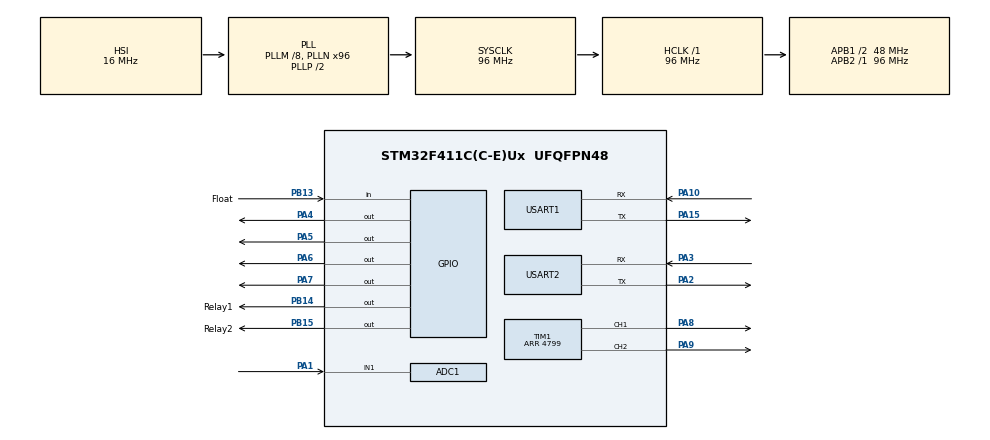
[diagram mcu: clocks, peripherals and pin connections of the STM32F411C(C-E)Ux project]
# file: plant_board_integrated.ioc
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ADC1.Channel-0\#ChannelRegularConversion=ADC_CHANNEL_1
ADC1.NbrOfConversionFlag=1
ADC1.Rank-0\#ChannelRegularConversion=1
ADC1.SamplingTime-0\#ChannelRegularConversion=ADC_SAMPLETIME_3CYCLES
ADC1.master=1
Mcu.Family=STM32F4
Mcu.Name=STM32F411C(C-E)Ux
Mcu.Package=UFQFPN48
NVIC.PriorityGroup=NVIC_PRIORITYGROUP_4
PA1.Signal=ADCx_IN1
PA10.Mode=Asynchronous
PA10.Signal=USART1_RX
PA13.Mode=Trace_Asynchronous_SW
PA13.Signal=SYS_JTMS-SWDIO
PA14.Mode=Trace_Asynchronous_SW
PA14.Signal=SYS_JTCK-SWCLK
PA15.Mode=Asynchronous
PA15.Signal=USART1_TX
PA2.Mode=Asynchronous
PA2.Signal=USART2_TX
PA3.Mode=Asynchronous
PA3.Signal=USART2_RX
PA4.Signal=GPIO_Output
PA5.Signal=GPIO_Output
PA6.Signal=GPIO_Output
PA7.Signal=GPIO_Output
PA8.Signal=S_TIM1_CH1
PA9.Signal=S_TIM1_CH2
PB13.GPIO_Label=Float
PB13.Signal=GPIO_Input
PB14.GPIO_Label=Relay1
PB14.Signal=GPIO_Output
PB15.GPIO_Label=Relay2
PB15.Signal=GPIO_Output
PB3.Mode=Trace_Asynchronous_SW
PB3.Signal=SYS_JTDO-SWO
ProjectManager.HeapSize=0x200
ProjectManager.StackSize=0x400
ProjectManager.TargetToolchain=STM32CubeIDE
RCC.48MHZClocksFreq_Value=48000000
RCC.AHBFreq_Value=96000000
RCC.APB1CLKDivider=RCC_HCLK_DIV2
RCC.APB1Freq_Value=48000000
RCC.APB1TimFreq_Value=96000000
RCC.APB2Freq_Value=96000000
RCC.APB2TimFreq_Value=96000000
RCC.CortexFreq_Value=96000000
RCC.HCLKFreq_Value=96000000
RCC.HSE_VALUE=25000000
RCC.HSI_VALUE=16000000
RCC.LSE_VALUE=32768
RCC.PLLM=8
RCC.PLLN=96
RCC.SYSCLKFreq_VALUE=96000000
RCC.SYSCLKSource=RCC_SYSCLKSOURCE_PLLCLK
RCC.VCOOutputFreq_Value=192000000
SH.ADCx_IN1.0=ADC1_IN1,IN1
SH.S_TIM1_CH1.0=TIM1_CH1,PWM Generation1 CH1
SH.S_TIM1_CH2.0=TIM1_CH2,PWM Generation2 CH2
TIM1.Channel-PWM\ Generation1\ CH1=TIM_CHANNEL_1
TIM1.Channel-PWM\ Generation2\ CH2=TIM_CHANNEL_2
TIM1.Period=4799
USART1.VirtualMode=VM_ASYNC
USART2.VirtualMode=VM_ASYNC
board=custom

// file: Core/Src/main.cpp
/* USER CODE BEGIN Header */
/**
  ******************************************************************************
  * @file           : main.cpp
  * @brief          : Main program body for the STM32 nutrient/water controller
  ******************************************************************************
  * @attention
  *
  * Copyright (c) 2026 STMicroelectronics.
  * All rights reserved.
  *
  * This software is licensed under terms that can be found in the LICENSE file
  * in the root directory of this software component.
  * If no LICENSE file comes with this software, it is provided AS-IS.
  *
  ******************************************************************************
  */
/* USER CODE END Header */
#include "main.h"

/* USER CODE BEGIN Includes */
extern "C" {
#include "motor_driver.h"
#include "valve.h"
#include "float.h"
#include "probe.h"
}

#include <cctype>
#include <cstdio>
#include <cstdlib>
#include <cstring>
#include <string>

using std::string;
/* USER CODE END Includes */

/* USER CODE BEGIN PTD */
/**
 * @brief High-level actions that can be requested by the TCP controller.
 */
enum class Actions{
	/** @brief Add water until the float switch indicates the target level. */
	Add_Water,

	/** @brief Add nutrient solution/slop and report the current TDS value. */
	Add_Slop,

	/** @brief Return control to manual/controller-command mode. */
	Controller_Mode,

	/** @brief Automatically manage water level and TDS concentration. */
	Automatic_Mode,

	/** @brief Idle state while waiting for the next TCP command. */
	Waiting_For_Command
};
/* USER CODE END PTD */

/* USER CODE BEGIN PD */
/** @brief TDS threshold, in ppm, below which nutrient solution is added. */
#define ppm_threshold 100.0f
/* USER CODE END PD */

ADC_HandleTypeDef hadc1;

TIM_HandleTypeDef htim1;

UART_HandleTypeDef huart1;
UART_HandleTypeDef huart2;

/* USER CODE BEGIN PV */
/** @brief PWM motor object used for periodic aeration. */
motor_t motor;

/** @brief Relay valve used to add water. */
valve_t valve1;

/** @brief Relay valve used to add nutrient solution/slop. */
valve_t valve2;

/** @brief Float switch used to detect the tank water level. */
float_t float1;

/** @brief TDS probe state used for ADC sampling and UART reporting. */
tds_t tds1;

/** @brief Nonzero when the aeration motor should be running. */
uint8_t motor_enable = 0;

/** @brief HAL tick count for the end of the previous aeration cycle. */
uint32_t last_motor_cycle_tick = 0;

/** @brief HAL tick count when the current aeration run started. */
uint32_t  motor_start_tick = 0;

/** @brief Latest TDS measurement in parts per million. */
float ppm;

/** @brief True after the remote controller sends the pairing message. */
bool controller_paired = false;

/** @brief True when automatic tank-control behavior is enabled. */
bool automatic_mode = false;

/** @brief Current state-machine action being processed by the main loop. */
Actions current_action = Actions::Waiting_For_Command;

/* WiFi credentials ----------------------------------------------------------*/
//static const char WIFI_SSID[] = "JiyenPhone";
//static const char WIFI_PASS[] = "loquat1515";
static const char WIFI_SSID[] = "LucasPhone";
static const char WIFI_PASS[] = "w033qbwyu552";

/* TCP server/listener port --------------------------------------------------*/
/* Change this to the port you want the ESP-01 to listen on. */
/** @brief TCP port opened by the ESP-01 server for controller commands. */
static const int LISTEN_PORT = 5000;

/* RX buffer for ESP UART ----------------------------------------------------*/
/** @brief Size of the circular receive buffer used for ESP UART data. */
#define ESP_RX_BUF_SIZE 1024

/** @brief Circular buffer that stores bytes received from the ESP-01 UART. */
static uint8_t esp_rx_buf[ESP_RX_BUF_SIZE];

/** @brief Write index for the ESP UART circular receive buffer. */
static uint16_t esp_rx_head = 0;

/** @brief Read index for the ESP UART circular receive buffer. */
static uint16_t esp_rx_tail = 0;
/* USER CODE END PV */

void SystemClock_Config(void);
static void MX_GPIO_Init(void);
static void MX_ADC1_Init(void);
static void MX_TIM1_Init(void);
static void MX_USART1_UART_Init(void);
static void MX_USART2_UART_Init(void);
/* USER CODE BEGIN PFP */
/**
 * @brief Push one byte into the ESP UART circular receive buffer.
 *
 * If the buffer is full, the oldest byte is overwritten.
 *
 * @param b Byte to store in the receive buffer.
 */
static void rx_push(uint8_t b)
{
  esp_rx_buf[esp_rx_head] = b;
  esp_rx_head = (esp_rx_head + 1) % ESP_RX_BUF_SIZE;

  if (esp_rx_head == esp_rx_tail)
  {
    esp_rx_tail = (esp_rx_tail + 1) % ESP_RX_BUF_SIZE;
  }
}

/**
 * @brief Pop one byte from the ESP UART circular receive buffer.
 *
 * @return Next byte as a non-negative int, or -1 when the buffer is empty.
 */
static int rx_pop(void)
{
  if (esp_rx_head == esp_rx_tail)
  {
    return -1;
  }

  uint8_t b = esp_rx_buf[esp_rx_tail];
  esp_rx_tail = (esp_rx_tail + 1) % ESP_RX_BUF_SIZE;
  return b;
}

/**
 * @brief Read all currently available bytes from the ESP UART.
 *
 * Bytes are pushed into the local circular receive buffer until no more data is
 * available or a HAL receive error occurs.
 */
static void esp_fill_rx(void)
{
  uint8_t b;
  HAL_StatusTypeDef status;

  do
  {
    status = HAL_UART_Receive(&huart2, &b, 1, 1);

    if (status == HAL_OK)
    {
      rx_push(b);
    }
  } while (status == HAL_OK);
}

/**
 * @brief Clear buffered ESP UART data.
 *
 * The circular buffer indexes are reset and any pending UART bytes are drained
 * so old responses are not confused with new AT command responses.
 */
static void esp_clear_rx(void)
{
  esp_rx_head = 0;
  esp_rx_tail = 0;

  uint8_t b;

  while (HAL_UART_Receive(&huart2, &b, 1, 1) == HAL_OK)
  {
  }
}

/* UART1 debug helpers -------------------------------------------------------*/
/**
 * @brief Send a null-terminated debug string over UART1.
 *
 * @param msg Null-terminated string to transmit.
 */
static void uart1_send(const char *msg)
{
  HAL_UART_Transmit(&huart1,
                    (uint8_t *)msg,
                    (uint16_t)std::strlen(msg),
                    HAL_MAX_DELAY);
}

/**
 * @brief Send a null-terminated debug string over UART1 with CRLF appended.
 *
 * @param msg Null-terminated string to transmit.
 */
static void uart1_send_ln(const char *msg)
{
  uart1_send(msg);
  uart1_send("\r\n");
}

/**
 * @brief Send a C++ string over UART1.
 *
 * @param msg String to transmit.
 */
static void uart1_send_string(const string &msg)
{
  HAL_UART_Transmit(&huart1,
                    (uint8_t *)msg.c_str(),
                    (uint16_t)msg.length(),
                    HAL_MAX_DELAY);
}

/**
 * @brief Send a C++ string over UART1 with CRLF appended.
 *
 * @param msg String to transmit.
 */
static void uart1_send_string_ln(const string &msg)
{
  uart1_send_string(msg);
  uart1_send("\r\n");
}

/* UART2 ESP send helper -----------------------------------------------------*/
/**
 * @brief Send a C++ string over UART2 with CRLF appended.
 *
 * This helper is used to send ESP-01 AT commands.
 *
 * @param msg AT command or string to transmit.
 */
static void uart2_send_string_ln(const string &msg)
{
  HAL_UART_Transmit(&huart2,
                    (uint8_t *)msg.c_str(),
                    (uint16_t)msg.length(),
                    HAL_MAX_DELAY);

  HAL_UART_Transmit(&huart2,
                    (uint8_t *)"\r\n",
                    2,
                    HAL_MAX_DELAY);
}

/**
 * @brief Send an AT command to the ESP-01 and collect its response.
 *
 * The function clears pending input, sends the command, then reads bytes until
 * an expected response terminator appears or the timeout expires. The response
 * is also printed over UART1 for debugging.
 *
 * @param cmd AT command to send without the trailing CRLF.
 * @param timeout_ms Maximum time to wait for the ESP response, in milliseconds.
 * @return Complete response collected from the ESP-01.
 */
static string esp_command(const string &cmd, uint32_t timeout_ms)
{
  esp_clear_rx();

  uart1_send(">> ");
  uart1_send_string_ln(cmd);

  uart2_send_string_ln(cmd);

  string response;
  response.reserve(ESP_RX_BUF_SIZE);

  uint32_t start = HAL_GetTick();

  while (HAL_GetTick() - start < timeout_ms)
  {
    esp_fill_rx();

    int r = rx_pop();

    if (r >= 0)
    {
      char c = (char)r;
      response += c;

      if (response.find("\r\nOK\r\n") != string::npos ||
          response.find("\r\nERROR\r\n") != string::npos ||
          response.find("FAIL") != string::npos ||
          response.find("ALREADY CONNECTED") != string::npos)
      {
        break;
      }
    }
    else
    {
      HAL_Delay(1);
    }
  }

  uart1_send_ln("<< ESP response:");
  uart1_send_string_ln(response);
  uart1_send_ln("--------------------");

  return response;
}

/**
 * @brief Parse the station IP address from an AT+CIPSTA? response.
 *
 * @param response Raw ESP-01 response string.
 * @return Parsed IP address string, or an empty string if not found.
 */
static string parse_cipsta_ip(const string &response)
{
  size_t pos = response.find("+CIPSTA:ip:\"");

  if (pos == string::npos)
  {
    return "";
  }

  size_t q1 = response.find('"', pos);
  if (q1 == string::npos)
  {
    return "";
  }

  size_t q2 = response.find('"', q1 + 1);
  if (q2 == string::npos)
  {
    return "";
  }

  return response.substr(q1 + 1, q2 - q1 - 1);
}

/**
 * @brief Parse the station IP address from an AT+CIFSR response.
 *
 * @param response Raw ESP-01 response string.
 * @return Parsed IP address string, or an empty string if not found.
 */
static string parse_cifsr_sta_ip(const string &response)
{
  size_t pos = response.find("STAIP,\"");

  if (pos == string::npos)
  {
    return "";
  }

  size_t q1 = response.find('"', pos);
  if (q1 == string::npos)
  {
    return "";
  }

  size_t q2 = response.find('"', q1 + 1);
  if (q2 == string::npos)
  {
    return "";
  }

  return response.substr(q1 + 1, q2 - q1 - 1);
}

/**
 * @brief Try to read the ESP-01 station IP address once.
 *
 * The function first attempts AT+CIPSTA?, then falls back to AT+CIFSR.
 *
 * @return Parsed IP address string, or an empty string if no IP was found.
 */
static string get_ip_address_once(void)
{
  string response;
  string ip;

  response = esp_command("AT+CIPSTA?", 5000);
  ip = parse_cipsta_ip(response);

  if (ip.empty())
  {
    response = esp_command("AT+CIFSR", 5000);
    ip = parse_cifsr_sta_ip(response);
  }

  return ip;
}

/**
 * @brief Wait until the ESP-01 has an IP address and print it over UART1.
 */
static void wait_for_ip_and_print_once(void)
{
  string ip = "";

  uart1_send_ln("");
  uart1_send_ln("Waiting for ESP IP address...");

  while (ip.empty())
  {
    ip = get_ip_address_once();

    if (ip.empty())
    {
      uart1_send_ln("IP not found yet. Retrying...");
      HAL_Delay(2000);
    }
  }

  uart1_send("ESP IP Address: ");
  uart1_send_string_ln(ip);
  uart1_send_ln("Use this IP address from your computer TCP client.");
}

/**
 * @brief Configure the ESP-01 and connect it to the configured WiFi network.
 *
 * @return true if the ESP-01 connects and reports success; false otherwise.
 */
static bool wifi_connect(void)
{
  uart1_send_ln("");
  uart1_send_ln("Starting ESP-01 WiFi setup...");
  HAL_Delay(2000);

  string response;

  response = esp_command("AT", 3000);

  if (response.find("OK") == string::npos)
  {
    uart1_send_ln("ERROR: ESP-01 did not respond to AT.");
    uart1_send_ln("Check wiring, power, EN/CH_PD, GPIO0, GPIO2, baud rate, and TX/RX crossover.");
    return false;
  }

  esp_command("ATE0", 2000);

  esp_command("AT+RST", 6000);
  HAL_Delay(4000);

  response = esp_command("AT+CWMODE=1", 5000);

  if (response.find("OK") == string::npos)
  {
    uart1_send_ln("ERROR: Failed to set station mode.");
    return false;
  }

  esp_command("AT+CWDHCP=1,1", 5000);
  esp_command("AT+CIPMODE=0", 3000);

  esp_command("AT+CWQAP", 5000);
  HAL_Delay(1000);

  uart1_send_ln("");
  uart1_send_ln("Connecting to WiFi...");

  string join_cmd = "AT+CWJAP=\"";
  join_cmd += WIFI_SSID;
  join_cmd += "\",\"";
  join_cmd += WIFI_PASS;
  join_cmd += "\"";

  response = esp_command(join_cmd, 30000);

  if (response.find("OK") != string::npos ||
      response.find("WIFI GOT IP") != string::npos)
  {
    uart1_send_ln("WiFi connected.");
    return true;
  }

  uart1_send_ln("WiFi connection failed.");

  if (response.find("+CWJAP:1") != string::npos)
  {
    uart1_send_ln("CWJAP error 1: connection timeout.");
  }
  else if (response.find("+CWJAP:2") != string::npos)
  {
    uart1_send_ln("CWJAP error 2: wrong password.");
  }
  else if (response.find("+CWJAP:3") != string::npos)
  {
    uart1_send_ln("CWJAP error 3: access point not found.");
  }
  else if (response.find("+CWJAP:4") != string::npos)
  {
    uart1_send_ln("CWJAP error 4: connection failed.");
  }

  return false;
}

/**
 * @brief Start the ESP-01 TCP server/listener.
 *
 * @param listen_port TCP port number for incoming controller connections.
 * @return true if the server starts successfully; false otherwise.
 */
static bool start_tcp_server(int listen_port)
{
  string response;

  uart1_send_ln("");
  uart1_send_ln("Starting ESP TCP server/listener...");

  /*
    Server mode requires multiple connections enabled.
  */
  response = esp_command("AT+CIPMUX=1", 5000);

  if (response.find("OK") == string::npos)
  {
    uart1_send_ln("ERROR: Failed to set CIPMUX=1.");
    return false;
  }

  /*
    Stop any old server. Ignore ERROR if no server exists.
  */
  esp_command("AT+CIPSERVER=0", 3000);

  char server_cmd[48];
  std::snprintf(server_cmd,
           sizeof(server_cmd),
           "AT+CIPSERVER=1,%d",
           listen_port);

  response = esp_command(server_cmd, 5000);

  if (response.find("OK") == string::npos)
  {
    uart1_send_ln("ERROR: Failed to start TCP server.");
    return false;
  }

  /*
    Optional connection timeout in seconds.
    7200 seconds = 2 hours.
  */
  esp_command("AT+CIPSTO=7200", 3000);

  uart1_send("TCP server listening on port ");

  char port_buf[16];
  std::snprintf(port_buf, sizeof(port_buf), "%d", listen_port);
  uart1_send_ln(port_buf);

  return true;
}

/**
 * @brief Test whether a character is an ASCII decimal digit.
 *
 * @param c Character to test.
 * @return true when c is between '0' and '9'; false otherwise.
 */
static bool is_digit_char(char c)
{
  return c >= '0' && c <= '9';
}

/**
 * @brief Parse an unsigned integer from a string at the current position.
 *
 * @param s Input string containing the number.
 * @param pos Current parse position; updated to the first non-digit on success.
 * @param value Parsed unsigned value.
 * @return true if at least one digit was parsed; false otherwise.
 */
static bool parse_unsigned_from_stream(const string &s,
                                       size_t &pos,
                                       unsigned int &value)
{
  if (pos >= s.length() || !is_digit_char(s[pos]))
  {
    return false;
  }

  value = 0;

  while (pos < s.length() && is_digit_char(s[pos]))
  {
    value = value * 10U + (unsigned int)(s[pos] - '0');
    pos++;
  }

  return true;
}

/**
 * @brief Extract one complete TCP payload from an ESP +IPD stream.
 *
 * Expected ESP server/mux format:
 * @code
 * +IPD,<link_id>,<length>:<payload>
 * @endcode
 *
 * The non-mux format is also supported:
 * @code
 * +IPD,<length>:<payload>
 * @endcode
 *
 * @param stream Buffered ESP receive stream. Consumed bytes are erased.
 * @return Received TCP payload, or "None" if no complete payload is available.
 */
static string process_ipd_stream(string &stream)
{
  while (1)
  {
    size_t ipd_pos = stream.find("+IPD,");

    if (ipd_pos == string::npos)
    {
      /*
        Keep a small tail in case '+IPD,' arrives split across reads.
      */
      if (stream.length() > 8)
      {
        stream.erase(0, stream.length() - 8);
      }

      return "None";
    }

    if (ipd_pos > 0)
    {
      stream.erase(0, ipd_pos);
    }

    size_t pos = 5;
    unsigned int first_number = 0;
    unsigned int payload_len = 0;

    if (!parse_unsigned_from_stream(stream, pos, first_number))
    {
      return "None";
    }

    if (pos >= stream.length())
    {
      return "None";
    }

    if (stream[pos] == ',')
    {
      /*
        Mux/server format:
          +IPD,<link_id>,<length>:<payload>
      */
      pos++;

      if (!parse_unsigned_from_stream(stream, pos, payload_len))
      {
        return "None";
      }

      if (pos >= stream.length())
      {
        return "None";
      }

      if (stream[pos] != ':')
      {
        /*
          Unexpected format. Drop '+IPD,' and keep searching.
        */
        stream.erase(0, 5);
        continue;
      }

      pos++;
    }
    else if (stream[pos] == ':')
    {
      /*
        Non-mux/client format:
          +IPD,<length>:<payload>
      */
      payload_len = first_number;
      pos++;
    }
    else
    {
      /*
        Unexpected format. Drop '+IPD,' and keep searching.
      */
      stream.erase(0, 5);
      continue;
    }

    if (stream.length() < pos + payload_len)
    {
      /*
        Full payload has not arrived yet.
      */
      return "None";
    }

    string payload = stream.substr(pos, payload_len);

    /*
      Remove this packet from the stream.
      If another +IPD packet is already buffered, the next call will return it.
    */
    stream.erase(0, pos + payload_len);

    return payload;
  }
}

/**
 * @brief Check whether a complete TCP command has been received.
 *
 * This function should be called from the main loop. It reads available UART2
 * bytes, stores them in a persistent stream buffer, and extracts one complete
 * ESP +IPD payload when available.
 *
 * @return Received TCP message payload, or "None" if no complete message exists.
 */
static string check_for_received_tcp_messages(void)
{
  static string stream;

  esp_fill_rx();

  while (1)
  {
    int r = rx_pop();

    if (r < 0)
    {
      break;
    }

    stream += (char)r;

    if (stream.length() > 2048)
    {
      stream.erase(0, stream.length() - 2048);
    }
  }

  return process_ipd_stream(stream);
}

/* USER CODE END PFP */

/**
  * @brief Application entry point.
  *
  * Initializes peripherals, connects the ESP-01 to WiFi, waits for controller
  * pairing, then repeatedly processes water, nutrient, automatic-mode, and
  * aeration control logic.
  *
  * @retval int This function does not return during normal operation.
  */
int main(void)
{

  /* MCU Configuration--------------------------------------------------------*/

  /* Reset of all peripherals, Initializes the Flash interface and the Systick. */
  HAL_Init();

  /* Configure the system clock */
  SystemClock_Config();

  /* Initialize all configured peripherals */
  MX_GPIO_Init();
  MX_ADC1_Init();
  MX_TIM1_Init();
  MX_USART1_UART_Init();
  MX_USART2_UART_Init();

  /* USER CODE BEGIN 2 */
  motor = motor_t{TIM_CHANNEL_1, TIM_CHANNEL_2, &htim1};
  motor_chan_enable(&motor);
  motor_set_duty_cycle(&motor, 0);
  valve1 = valve_t{Relay1_GPIO_Port, Relay1_Pin};
  valve2 = valve_t{Relay2_GPIO_Port, Relay2_Pin};
  float1 = float_t{Float_GPIO_Port, Float_Pin};
  tds_init(&tds1, &hadc1, &huart1, 3.3f);
  last_motor_cycle_tick = HAL_GetTick();

  // Connect to WiFi and start TCP server/listener for controller pairing and commands.
  uart1_send_ln("");
    uart1_send_ln("===== TCP LISTENER BUILD 2026-06-11 v2 RETURN STRING =====");
    uart1_send_ln("");

    while (!wifi_connect())
    {
      uart1_send_ln("");
      uart1_send_ln("WiFi setup failed. Retrying in 5 seconds...");
      HAL_Delay(5000);
    }

    wait_for_ip_and_print_once();

    while (!start_tcp_server(LISTEN_PORT))
    {
      uart1_send_ln("TCP server setup failed. Retrying in 5 seconds...");
      HAL_Delay(5000);
    }

    uart1_send_ln("");
    uart1_send_ln("Ready. Main loop is checking for received TCP messages.");

    while (!controller_paired)
    {
  	uart1_send_ln("");
  	uart1_send_ln("Waiting for controller to pair...");

  	string received_message = check_for_received_tcp_messages();
  	if (received_message == "Hello")
  	{
      	controller_paired = true;
  		uart1_send_ln("Controller paired successfully!");
  		break;
  	}
  	HAL_Delay(1000);
    }
  /* USER CODE END 2 */

  /* Infinite loop */
  /* USER CODE BEGIN WHILE */

  while (1)
  {
    uint32_t now = HAL_GetTick();

    switch (current_action)
    {
      case Actions::Add_Water:
      {
        uart1_send_ln("Action: Add Water");

        // If the float switch is not pressed, open valve1 to add water.
        // Otherwise, close valve1 and return to waiting for a command.
        if (read_float(&float1) == GPIO_PIN_SET)
        {
          valve_open(&valve1);
          HAL_Delay(100);
          valve_close(&valve1);
          current_action = Actions::Add_Water;
        }
        else
        {
          valve_close(&valve1);
          current_action = Actions::Waiting_For_Command;
        }
        break;
      }

      case Actions::Add_Slop:
      {
        uart1_send_ln("Action: Add Slop");

        ppm = tds_read_ppm(&tds1);
        tds_uart_print(&tds1);
        valve_open(&valve2);
        HAL_Delay(1000);
        valve_close(&valve2);

        current_action = Actions::Waiting_For_Command;
        break;
      }

      case Actions::Controller_Mode:
      {
        uart1_send_ln("Action: Controller Mode");
        automatic_mode = false;
        current_action = Actions::Waiting_For_Command;
        break;
      }

      case Actions::Automatic_Mode:
      {
        uart1_send_ln("Action: Automatic Mode");

        if (read_float(&float1) == GPIO_PIN_SET)
        {
          valve_open(&valve1);
        }
        else
        {
          valve_close(&valve1);
        }

        ppm = tds_read_ppm(&tds1);
        tds_uart_print(&tds1);

        if (ppm <= ppm_threshold)
        {
          valve_open(&valve2);
        }
        else
        {
          valve_close(&valve2);
        }

        automatic_mode = true;
        current_action = Actions::Waiting_For_Command;
        break;
      }

      case Actions::Waiting_For_Command:
      default:
      {
        // Check for the next command from the controller over TCP.
        string received_message = check_for_received_tcp_messages();

        if (received_message != "None")
        {
          uart1_send_ln("");
          uart1_send_ln("Received TCP message:");
          uart1_send_string_ln(received_message);
          uart1_send_ln("--------------------");

          if (received_message == "AUTOM")
          {
            uart1_send_ln("Received AUTOM message.");
            current_action = Actions::Automatic_Mode;
          }
          else if (received_message == "WATER")
          {
            uart1_send_ln("Received WATER message.");
            current_action = Actions::Add_Water;
          }
          else if (received_message == "SLOP!")
          {
            uart1_send_ln("Received SLOP! message.");
            current_action = Actions::Add_Slop;
          }
          else if (received_message == "CTRLR")
          {
            uart1_send_ln("Received CTRLR message.");
            current_action = Actions::Controller_Mode;
            automatic_mode = false;
          }
        }
        break;
      }
    }

    // Regardless of the current mode, always aerate the water with the same cycle.
    if ((motor_enable == 0) && ((now - last_motor_cycle_tick) >= 36000UL))
    {
      motor_enable = 1;
      motor_start_tick = now;
    }

    if ((motor_enable == 1) && ((now - motor_start_tick) >= 6000UL))
    {
      motor_enable = 0;
      last_motor_cycle_tick = now;
    }

    if (motor_enable)
    {
      motor_set_duty_cycle(&motor, 100);
    }
    else
    {
      motor_stop(&motor);
    }

    HAL_Delay(50);

    /* USER CODE END WHILE */

  }
}

/**
  * @brief Configure the STM32 system clock tree.
  *
  * The firmware uses the internal HSI oscillator and PLL configuration generated
  * by STM32CubeIDE.
  *
  * @retval None
  */
void SystemClock_Config(void)
{
  RCC_OscInitTypeDef RCC_OscInitStruct = {0};
  RCC_ClkInitTypeDef RCC_ClkInitStruct = {0};

  /** Configure the main internal regulator output voltage
  */
  __HAL_RCC_PWR_CLK_ENABLE();
  __HAL_PWR_VOLTAGESCALING_CONFIG(PWR_REGULATOR_VOLTAGE_SCALE1);

  /** Initializes the RCC Oscillators according to the specified parameters
  * in the RCC_OscInitTypeDef structure.
  */
  RCC_OscInitStruct.OscillatorType = RCC_OSCILLATORTYPE_HSI;
  RCC_OscInitStruct.HSIState = RCC_HSI_ON;
  RCC_OscInitStruct.HSICalibrationValue = RCC_HSICALIBRATION_DEFAULT;
  RCC_OscInitStruct.PLL.PLLState = RCC_PLL_ON;
  RCC_OscInitStruct.PLL.PLLSource = RCC_PLLSOURCE_HSI;
  RCC_OscInitStruct.PLL.PLLM = 8;
  RCC_OscInitStruct.PLL.PLLN = 96;
  RCC_OscInitStruct.PLL.PLLP = RCC_PLLP_DIV2;
  RCC_OscInitStruct.PLL.PLLQ = 4;
  if (HAL_RCC_OscConfig(&RCC_OscInitStruct) != HAL_OK)
  {
    Error_Handler();
  }

  /** Initializes the CPU, AHB and APB buses clocks
  */
  RCC_ClkInitStruct.ClockType = RCC_CLOCKTYPE_HCLK|RCC_CLOCKTYPE_SYSCLK
                              |RCC_CLOCKTYPE_PCLK1|RCC_CLOCKTYPE_PCLK2;
  RCC_ClkInitStruct.SYSCLKSource = RCC_SYSCLKSOURCE_PLLCLK;
  RCC_ClkInitStruct.AHBCLKDivider = RCC_SYSCLK_DIV1;
  RCC_ClkInitStruct.APB1CLKDivider = RCC_HCLK_DIV2;
  RCC_ClkInitStruct.APB2CLKDivider = RCC_HCLK_DIV1;

  if (HAL_RCC_ClockConfig(&RCC_ClkInitStruct, FLASH_LATENCY_3) != HAL_OK)
  {
    Error_Handler();
  }
}

/**
  * @brief Initialize ADC1 for single-channel TDS probe sampling.
  * @param None
  * @retval None
  */
static void MX_ADC1_Init(void)
{

  ADC_ChannelConfTypeDef sConfig = {0};

  /** Configure the global features of the ADC (Clock, Resolution, Data Alignment and number of conversion)
  */
  hadc1.Instance = ADC1;
  hadc1.Init.ClockPrescaler = ADC_CLOCK_SYNC_PCLK_DIV4;
  hadc1.Init.Resolution = ADC_RESOLUTION_12B;
  hadc1.Init.ScanConvMode = DISABLE;
  hadc1.Init.ContinuousConvMode = DISABLE;
  hadc1.Init.DiscontinuousConvMode = DISABLE;
  hadc1.Init.ExternalTrigConvEdge = ADC_EXTERNALTRIGCONVEDGE_NONE;
  hadc1.Init.ExternalTrigConv = ADC_SOFTWARE_START;
  hadc1.Init.DataAlign = ADC_DATAALIGN_RIGHT;
  hadc1.Init.NbrOfConversion = 1;
  hadc1.Init.DMAContinuousRequests = DISABLE;
  hadc1.Init.EOCSelection = ADC_EOC_SINGLE_CONV;
  if (HAL_ADC_Init(&hadc1) != HAL_OK)
  {
    Error_Handler();
  }

  /** Configure for the selected ADC regular channel its corresponding rank in the sequencer and its sample time.
  */
  sConfig.Channel = ADC_CHANNEL_1;
  sConfig.Rank = 1;
  sConfig.SamplingTime = ADC_SAMPLETIME_3CYCLES;
  if (HAL_ADC_ConfigChannel(&hadc1, &sConfig) != HAL_OK)
  {
    Error_Handler();
  }

}

/**
  * @brief Initialize TIM1 for two-channel PWM motor control.
  * @param None
  * @retval None
  */
static void MX_TIM1_Init(void)
{

  TIM_MasterConfigTypeDef sMasterConfig = {0};
  TIM_OC_InitTypeDef sConfigOC = {0};
  TIM_BreakDeadTimeConfigTypeDef sBreakDeadTimeConfig = {0};

  htim1.Instance = TIM1;
  htim1.Init.Prescaler = 0;
  htim1.Init.CounterMode = TIM_COUNTERMODE_UP;
  htim1.Init.Period = 4799;
  htim1.Init.ClockDivision = TIM_CLOCKDIVISION_DIV1;
  htim1.Init.RepetitionCounter = 0;
  htim1.Init.AutoReloadPreload = TIM_AUTORELOAD_PRELOAD_DISABLE;
  if (HAL_TIM_PWM_Init(&htim1) != HAL_OK)
  {
    Error_Handler();
  }
  sMasterConfig.MasterOutputTrigger = TIM_TRGO_RESET;
  sMasterConfig.MasterSlaveMode = TIM_MASTERSLAVEMODE_DISABLE;
  if (HAL_TIMEx_MasterConfigSynchronization(&htim1, &sMasterConfig) != HAL_OK)
  {
    Error_Handler();
  }
  sConfigOC.OCMode = TIM_OCMODE_PWM1;
  sConfigOC.Pulse = 0;
  sConfigOC.OCPolarity = TIM_OCPOLARITY_HIGH;
  sConfigOC.OCNPolarity = TIM_OCNPOLARITY_HIGH;
  sConfigOC.OCFastMode = TIM_OCFAST_DISABLE;
  sConfigOC.OCIdleState = TIM_OCIDLESTATE_RESET;
  sConfigOC.OCNIdleState = TIM_OCNIDLESTATE_RESET;
  if (HAL_TIM_PWM_ConfigChannel(&htim1, &sConfigOC, TIM_CHANNEL_1) != HAL_OK)
  {
    Error_Handler();
  }
  if (HAL_TIM_PWM_ConfigChannel(&htim1, &sConfigOC, TIM_CHANNEL_2) != HAL_OK)
  {
    Error_Handler();
  }
  sBreakDeadTimeConfig.OffStateRunMode = TIM_OSSR_DISABLE;
  sBreakDeadTimeConfig.OffStateIDLEMode = TIM_OSSI_DISABLE;
  sBreakDeadTimeConfig.LockLevel = TIM_LOCKLEVEL_OFF;
  sBreakDeadTimeConfig.DeadTime = 0;
  sBreakDeadTimeConfig.BreakState = TIM_BREAK_DISABLE;
  sBreakDeadTimeConfig.BreakPolarity = TIM_BREAKPOLARITY_HIGH;
  sBreakDeadTimeConfig.AutomaticOutput = TIM_AUTOMATICOUTPUT_DISABLE;
  if (HAL_TIMEx_ConfigBreakDeadTime(&htim1, &sBreakDeadTimeConfig) != HAL_OK)
  {
    Error_Handler();
  }
  HAL_TIM_MspPostInit(&htim1);

}

/**
  * @brief Initialize USART1 for debug output.
  * @param None
  * @retval None
  */
static void MX_USART1_UART_Init(void)
{

  huart1.Instance = USART1;
  huart1.Init.BaudRate = 115200;
  huart1.Init.WordLength = UART_WORDLENGTH_8B;
  huart1.Init.StopBits = UART_STOPBITS_1;
  huart1.Init.Parity = UART_PARITY_NONE;
  huart1.Init.Mode = UART_MODE_TX_RX;
  huart1.Init.HwFlowCtl = UART_HWCONTROL_NONE;
  huart1.Init.OverSampling = UART_OVERSAMPLING_16;
  if (HAL_UART_Init(&huart1) != HAL_OK)
  {
    Error_Handler();
  }

}

/**
  * @brief Initialize USART2 for ESP-01 AT command communication.
  * @param None
  * @retval None
  */
static void MX_USART2_UART_Init(void)
{

  huart2.Instance = USART2;
  huart2.Init.BaudRate = 115200;
  huart2.Init.WordLength = UART_WORDLENGTH_8B;
  huart2.Init.StopBits = UART_STOPBITS_1;
  huart2.Init.Parity = UART_PARITY_NONE;
  huart2.Init.Mode = UART_MODE_TX_RX;
  huart2.Init.HwFlowCtl = UART_HWCONTROL_NONE;
  huart2.Init.OverSampling = UART_OVERSAMPLING_16;
  if (HAL_UART_Init(&huart2) != HAL_OK)
  {
    Error_Handler();
  }

}

/**
  * @brief Initialize GPIO pins for relays, float switch, and board outputs.
  * @param None
  * @retval None
  */
static void MX_GPIO_Init(void)
{
  GPIO_InitTypeDef GPIO_InitStruct = {0};

  /* GPIO Ports Clock Enable */
  __HAL_RCC_GPIOA_CLK_ENABLE();
  __HAL_RCC_GPIOB_CLK_ENABLE();

  /*Configure GPIO pin Output Level */
  HAL_GPIO_WritePin(GPIOA, GPIO_PIN_4|GPIO_PIN_5|GPIO_PIN_6|GPIO_PIN_7, GPIO_PIN_RESET);

  /*Configure GPIO pin Output Level */
  HAL_GPIO_WritePin(GPIOB, Relay1_Pin|Relay2_Pin, GPIO_PIN_RESET);

  /*Configure GPIO pins : PA4 PA5 PA6 PA7 */
  GPIO_InitStruct.Pin = GPIO_PIN_4|GPIO_PIN_5|GPIO_PIN_6|GPIO_PIN_7;
  GPIO_InitStruct.Mode = GPIO_MODE_OUTPUT_PP;
  GPIO_InitStruct.Pull = GPIO_NOPULL;
  GPIO_InitStruct.Speed = GPIO_SPEED_FREQ_LOW;
  HAL_GPIO_Init(GPIOA, &GPIO_InitStruct);

  /*Configure GPIO pin : Float_Pin */
  GPIO_InitStruct.Pin = Float_Pin;
  GPIO_InitStruct.Mode = GPIO_MODE_INPUT;
  GPIO_InitStruct.Pull = GPIO_NOPULL;
  HAL_GPIO_Init(Float_GPIO_Port, &GPIO_InitStruct);

  /*Configure GPIO pins : Relay1_Pin Relay2_Pin */
  GPIO_InitStruct.Pin = Relay1_Pin|Relay2_Pin;
  GPIO_InitStruct.Mode = GPIO_MODE_OUTPUT_PP;
  GPIO_InitStruct.Pull = GPIO_NOPULL;
  GPIO_InitStruct.Speed = GPIO_SPEED_FREQ_LOW;
  HAL_GPIO_Init(GPIOB, &GPIO_InitStruct);

}

void Error_Handler(void)
{
  __disable_irq();
  while (1)
  {
  }
}
